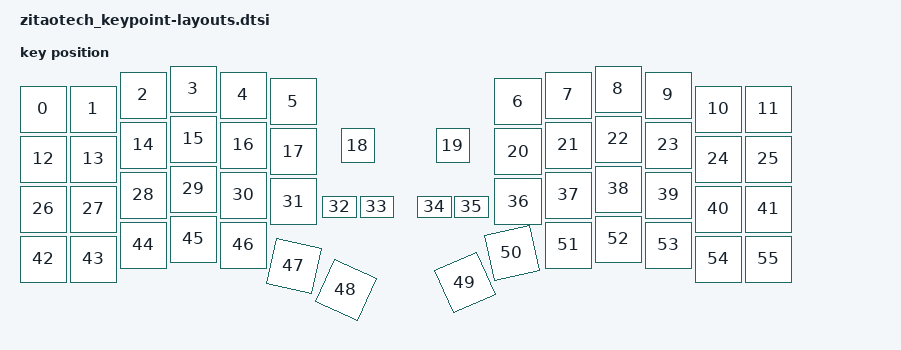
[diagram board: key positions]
#include <physical_layouts.dtsi>
#include <dt-bindings/zmk/matrix_transform.h>

/ {
    zitaotech_keypoint_layout: zitaotech_keypoint_layout {
        compatible = "zmk,physical-layout";
        display-name = "zitaotech_keypoint";

        kscan = <&kscan0>;
        transform = <&matrix_transform0>;

        keys  //                     w   h    x    y     rot    rx    ry
            = <&key_physical_attrs 100 100    0   40       0     0     0>
            , <&key_physical_attrs 100 100  100   40       0     0     0>
            , <&key_physical_attrs 100 100  200   12       0     0     0>
            , <&key_physical_attrs 100 100  300    0       0     0     0>
            , <&key_physical_attrs 100 100  400   12       0     0     0>
            , <&key_physical_attrs 100 100  500   25       0     0     0>
            , <&key_physical_attrs 100 100  950   25       0     0     0>
            , <&key_physical_attrs 100 100 1050   12       0     0     0>
            , <&key_physical_attrs 100 100 1150    0       0     0     0>
            , <&key_physical_attrs 100 100 1250   12       0     0     0>
            , <&key_physical_attrs 100 100 1350   40       0     0     0>
            , <&key_physical_attrs 100 100 1450   40       0     0     0>
            , <&key_physical_attrs 100 100    0  140       0     0     0>
            , <&key_physical_attrs 100 100  100  140       0     0     0>
            , <&key_physical_attrs 100 100  200  112       0     0     0>
            , <&key_physical_attrs 100 100  300  100       0     0     0>
            , <&key_physical_attrs 100 100  400  112       0     0     0>
            , <&key_physical_attrs 100 100  500  125       0     0     0>
            , <&key_physical_attrs  75  75  642  125       0     0     0>
            , <&key_physical_attrs  75  75  832  125       0     0     0>
            , <&key_physical_attrs 100 100  950  125       0     0     0>
            , <&key_physical_attrs 100 100 1050  112       0     0     0>
            , <&key_physical_attrs 100 100 1150  100       0     0     0>
            , <&key_physical_attrs 100 100 1250  112       0     0     0>
            , <&key_physical_attrs 100 100 1350  140       0     0     0>
            , <&key_physical_attrs 100 100 1450  140       0     0     0>
            , <&key_physical_attrs 100 100    0  240       0     0     0>
            , <&key_physical_attrs 100 100  100  240       0     0     0>
            , <&key_physical_attrs 100 100  200  212       0     0     0>
            , <&key_physical_attrs 100 100  300  200       0     0     0>
            , <&key_physical_attrs 100 100  400  212       0     0     0>
            , <&key_physical_attrs 100 100  500  225       0     0     0>
            , <&key_physical_attrs  75  50  605  260       0     0     0>
            , <&key_physical_attrs  75  50  680  260       0     0     0>
            , <&key_physical_attrs  75  50  795  260       0     0     0>
            , <&key_physical_attrs  75  50  870  260       0     0     0>
            , <&key_physical_attrs 100 100  950  225       0     0     0>
            , <&key_physical_attrs 100 100 1050  212       0     0     0>
            , <&key_physical_attrs 100 100 1150  200       0     0     0>
            , <&key_physical_attrs 100 100 1250  212       0     0     0>
            , <&key_physical_attrs 100 100 1350  240       0     0     0>
            , <&key_physical_attrs 100 100 1450  240       0     0     0>
            , <&key_physical_attrs 100 100    0  340       0     0     0>
            , <&key_physical_attrs 100 100  100  340       0     0     0>
            , <&key_physical_attrs 100 100  200  312       0     0     0>
            , <&key_physical_attrs 100 100  300  300       0     0     0>
            , <&key_physical_attrs 100 100  400  312       0     0     0>
            , <&key_physical_attrs 100 100  520  307    1193   335   293>
            , <&key_physical_attrs 100 100  602  267    2387   335   393>
            , <&key_physical_attrs 100 100  842  307 (-2387)  1082   393>
            , <&key_physical_attrs 100 100  922  307 (-1193)  1082   293>
            , <&key_physical_attrs 100 100 1050  312       0     0     0>
            , <&key_physical_attrs 100 100 1150  300       0     0     0>
            , <&key_physical_attrs 100 100 1250  312       0     0     0>
            , <&key_physical_attrs 100 100 1350  340       0     0     0>
            , <&key_physical_attrs 100 100 1450  340       0     0     0>
            ;
    };
};



